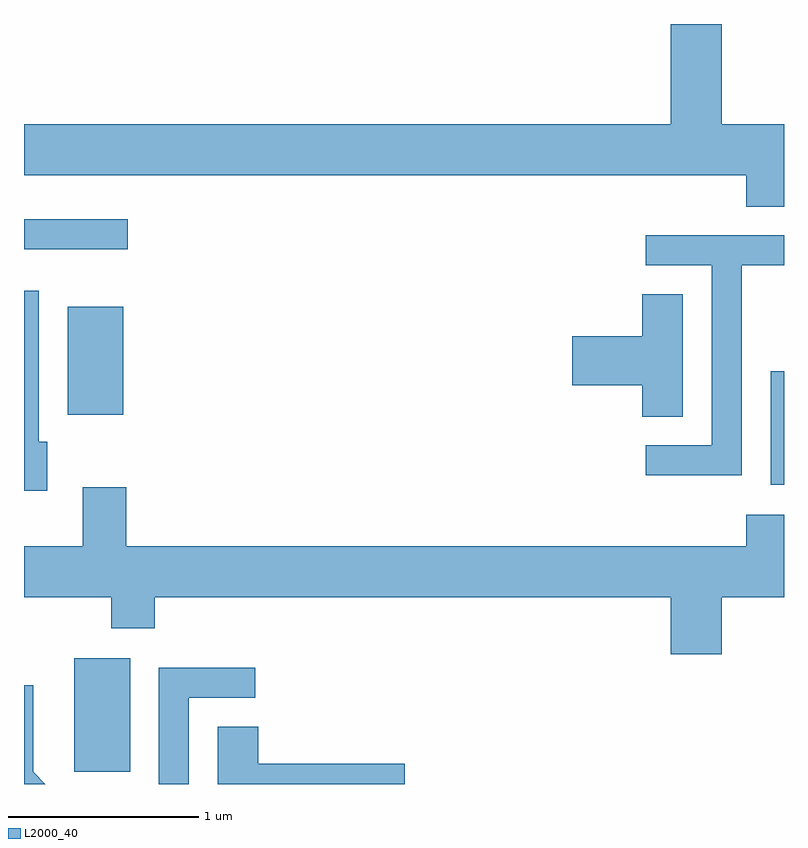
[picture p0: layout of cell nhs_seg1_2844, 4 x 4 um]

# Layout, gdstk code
import gdstk
lib = gdstk.Library(unit=1e-6, precision=1e-09)
def R(c, l, rs):  # rectangles x0, y0, x1, y1
    for r in rs: c.add(gdstk.rectangle(r[:2], r[2:], *l))
def P(c, l, *ps):  # polygons
    for p in ps: c.add(gdstk.Polygon(p, *l))
L2000_40 = (2000, 40)

nhs_seg1_2844 = lib.new_cell('nhs_seg1_2844')
R(nhs_seg1_2844, L2000_40, [(271.876,889.776,272.169,890.374), (275.541,891.286,275.611,891.884), (271.841,891.656,272.134,892.224), (271.611,892.526,272.158,892.684)])
P(nhs_seg1_2844, L2000_40, [(275.611,893.184),(275.284,893.184),(275.284,893.712),(275.016,893.712),(275.016,893.184),(271.611,893.184),(271.611,892.916),(275.411,892.916),(275.411,892.751),(275.611,892.751)],
  [(275.389,892.441),(275.611,892.441),(275.611,892.599),(274.883,892.599),(274.883,892.441),(275.231,892.441),(275.231,891.494),(274.883,891.494),(274.883,891.336),(275.389,891.336)],
  [(271.734,891.514),(271.689,891.514),(271.689,892.309),(271.611,892.309),(271.611,891.256),(271.734,891.256)],
  [(275.079,892.289),(274.866,892.289),(274.866,892.069),(274.496,892.069),(274.496,891.811),(274.866,891.811),(274.866,891.646),(275.079,891.646)],
  [(275.284,890.696),(275.611,890.696),(275.611,891.129),(275.411,891.129),(275.411,890.964),(272.149,890.964),(272.149,891.274),(271.921,891.274),(271.921,890.964),(271.611,890.964),(271.611,890.696),(272.071,890.696),(272.071,890.531),(272.299,890.531),(272.299,890.696),(275.016,890.696),(275.016,890.396),(275.284,890.396)],
  [(272.479,890.166),(272.828,890.166),(272.828,890.324),(272.321,890.324),(272.321,889.712),(272.479,889.712)],
  [(271.659,889.777),(271.659,890.233),(271.611,890.233),(271.611,889.712),(271.724,889.712)],
  [(273.614,889.819),(272.844,889.819),(272.844,890.014),(272.631,890.014),(272.631,889.712),(273.614,889.712)])

lib.write_gds('nhs_seg1_2844.gds')
